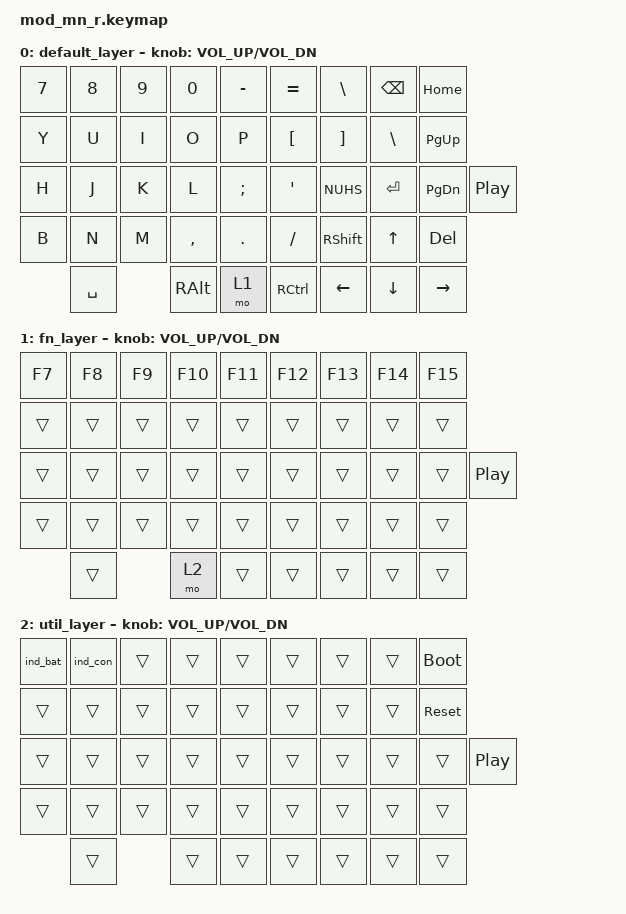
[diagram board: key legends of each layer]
/*
 * copyright (c) 2025 ZMK project contributors
 *
 * SPDX-license-identifier: MIT
 */

#include <behaviors.dtsi>
#include <behaviors/rgbled_widget.dtsi>
#include <dt-bindings/zmk/keys.h>

/ {
    keymap {
        compatible = "zmk,keymap";

        default_layer {
            bindings = <
                      &kp N7  &kp N8  &kp N9  &kp N0  &kp MINUS  &kp EQUAL   &kp BSLH &kp BSPC &kp HOME
                  &kp Y   &kp U   &kp I   &kp O   &kp P   &kp LBKT    &kp RBKT        &kp BSLH &kp PG_UP
                    &kp H   &kp J   &kp K   &kp L   &kp SEMI   &kp APOS   &kp NUHS    &kp RET  &kp PG_DN &kp C_PP
                &kp B   &kp N   &kp M   &kp COMMA &kp DOT &kp FSLH &kp RSHFT          &kp UP   &kp DEL
                  &kp SPACE        &kp RALT       &mo 1       &kp RCTRL      &kp LEFT &kp DOWN &kp RIGHT
            >;

            sensor-bindings = <&inc_dec_kp C_VOL_UP C_VOL_DN>;
        };

        fn_layer {
            bindings = <
                &kp F7   &kp F8   &kp F9 &kp F10 &kp F11 &kp F12 &kp F13 &kp F14 &kp F15
                &trans   &trans   &trans &trans  &trans  &trans  &trans  &trans  &trans
                &trans   &trans   &trans &trans  &trans  &trans  &trans  &trans  &trans      &kp C_PP
                &trans   &trans   &trans &trans  &trans  &trans  &trans  &trans  &trans
                         &trans          &mo 2   &trans  &trans  &trans  &trans  &trans
            >;

            sensor-bindings = <&inc_dec_kp C_VOL_UP C_VOL_DN>;
        };

        util_layer {
            bindings = <
                &ind_bat &ind_con &trans &trans  &trans  &trans  &trans  &trans  &bootloader
                &trans   &trans   &trans &trans  &trans  &trans  &trans  &trans  &sys_reset
                &trans   &trans   &trans &trans  &trans  &trans  &trans  &trans  &trans      &kp C_PP
                &trans   &trans   &trans &trans  &trans  &trans  &trans  &trans  &trans
                         &trans          &trans  &trans  &trans  &trans  &trans  &trans
            >;

            sensor-bindings = <&inc_dec_kp C_VOL_UP C_VOL_DN>;
        };
    };
};

